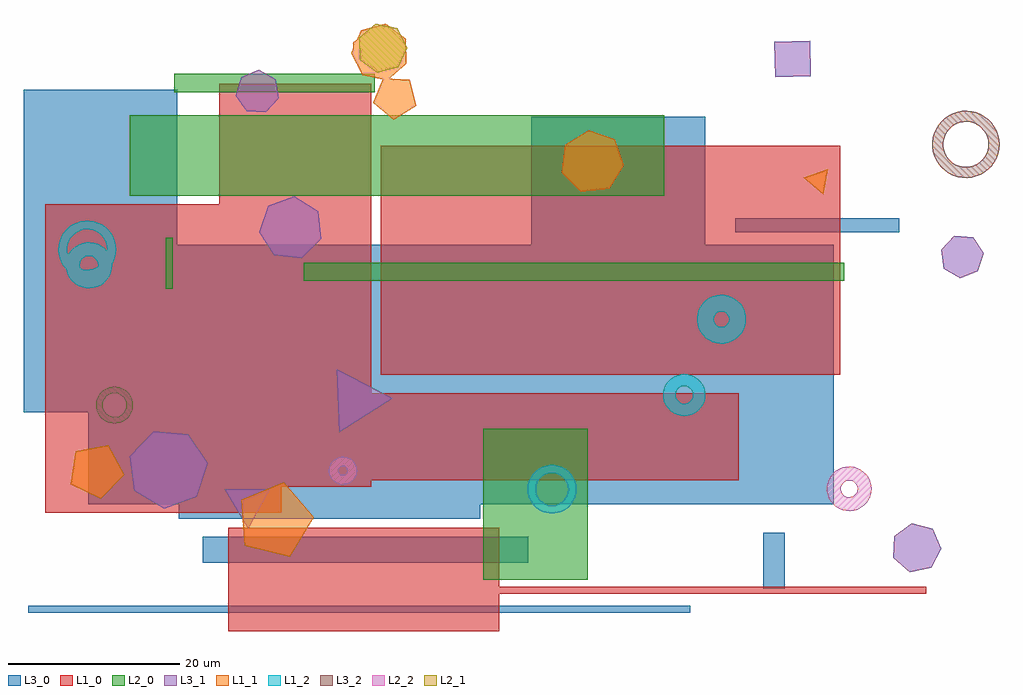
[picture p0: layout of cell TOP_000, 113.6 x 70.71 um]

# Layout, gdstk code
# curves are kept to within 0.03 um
import gdstk
lib = gdstk.Library(unit=1e-6, precision=1e-09)
def R(c, l, rs):  # rectangles x0, y0, x1, y1
    for r in rs: c.add(gdstk.rectangle(r[:2], r[2:], *l))
def P(c, l, *ps):  # polygons
    for p in ps: c.add(gdstk.Polygon(p, *l))
L1_0 = (1, 0)
L1_1 = (1, 1)
L1_2 = (1, 2)
L2_0 = (2, 0)
L2_1 = (2, 1)
L2_2 = (2, 2)
L3_0 = (3, 0)
L3_1 = (3, 1)
L3_2 = (3, 2)

top_000 = lib.new_cell('TOP_000')
R(top_000, L1_0, [(29.05,6.858,60.589,18.919), (42.025,11.231,110.293,12.031), (7.751,20.625,35.253,56.553), (28.046,23.688,45.72,70.566), (22.563,24.451,88.469,34.583), (46.814,36.739,100.313,63.388)])
P(top_000, L1_1, [(74.042,64.126),(70.998,65.195),(68.263,63.481),(67.898,60.275),(70.178,57.99),(73.385,58.348),(75.105,61.079)],
  [(10.737,23.974),(14.235,22.257),(16.949,25.052),(15.129,28.498),(11.29,27.831)],
  [(47.378,77.566),(44.558,76.822),(43.382,74.154),(44.734,71.571),(47.597,71.018),(49.814,72.911),(49.717,75.825)],
  [(98.296,57.705),(98.821,60.631),(96.025,59.623)],
  [(35.515,24.215),(30.552,22.154),(30.978,16.797),(36.204,15.547),(39.009,20.131)],
  [(50.204,71.045),(47.113,71.247),(45.965,68.369),(48.348,66.389),(50.968,68.042)],
  [(45.958,75.544),(44.755,76.165),(43.617,75.433),(43.681,74.081),(44.884,73.461),(46.022,74.193)])
P(top_000, L1_2, [(86.817,40.343),(87.267,40.435),(87.697,40.598),(88.094,40.827),(88.45,41.118),(88.755,41.462),(89,41.85),(89.18,42.272),(89.29,42.718),(89.327,43.176),(89.29,43.633),(89.18,44.079),(89,44.502),(88.755,44.89),(88.45,45.234),(88.094,45.524),(87.697,45.754),(87.267,45.916),(86.817,46.008),(86.359,46.027),(85.903,45.971),(85.462,45.844),(85.047,45.647),(84.669,45.386),(84.338,45.068),(84.062,44.701),(83.848,44.294),(83.703,43.859),(83.629,43.176),(85.581,43.176),(85.617,43.427),(85.723,43.658),(85.889,43.85),(86.103,43.987),(86.346,44.059),(86.6,44.059),(86.844,43.987),(87.058,43.85),(87.224,43.658),(87.33,43.427),(87.366,43.176),(87.33,42.924),(87.224,42.693),(87.058,42.501),(86.844,42.364),(86.6,42.292),(86.346,42.292),(86.103,42.364),(85.889,42.501),(85.723,42.693),(85.617,42.924),(85.581,43.176),(83.629,43.176),(83.629,42.946),(83.703,42.493),(83.848,42.057),(84.062,41.651),(84.338,41.284),(84.669,40.965),(85.047,40.705),(85.462,40.508),(85.903,40.38),(86.359,40.325)],
  [(82.573,31.946),(82.986,32.057),(83.375,32.238),(83.726,32.484),(84.029,32.787),(84.274,33.137),(84.455,33.526),(84.566,33.94),(84.604,34.366),(84.566,34.793),(84.455,35.207),(84.274,35.595),(84.029,35.946),(83.726,36.249),(83.375,36.495),(82.986,36.676),(82.573,36.787),(82.146,36.824),(81.719,36.787),(81.305,36.676),(80.917,36.495),(80.566,36.249),(80.263,35.946),(80.017,35.595),(79.836,35.207),(79.725,34.793),(79.7,34.229),(81.144,34.229),(81.144,34.504),(81.219,34.769),(81.362,35.004),(81.563,35.192),(81.807,35.319),(82.077,35.375),(82.351,35.356),(82.611,35.264),(82.836,35.105),(83.009,34.892),(83.119,34.639),(83.157,34.366),(83.119,34.094),(83.009,33.841),(82.836,33.628),(82.611,33.469),(82.351,33.377),(82.077,33.358),(81.807,33.414),(81.563,33.541),(81.362,33.728),(81.219,33.964),(81.144,34.229),(79.7,34.229),(79.725,33.94),(79.836,33.526),(80.017,33.137),(80.263,32.787),(80.566,32.484),(80.917,32.238),(81.305,32.057),(81.719,31.946),(82.146,31.909)],
  [(13.4,48.008),(13.88,48.156),(14.333,48.375),(14.749,48.658),(15.117,49),(15.431,49.393),(15.682,49.829),(15.866,50.297),(15.978,50.787),(16.016,51.288),(15.978,51.79),(15.866,52.28),(15.682,52.748),(15.431,53.184),(15.117,53.577),(14.749,53.919),(14.333,54.202),(13.88,54.42),(13.4,54.569),(12.903,54.644),(12.4,54.644),(11.902,54.569),(11.422,54.42),(10.969,54.202),(10.553,53.919),(10.185,53.577),(9.871,53.184),(9.62,52.748),(9.436,52.28),(9.324,51.79),(9.302,51.079),(10.325,51.079),(10.325,51.498),(10.4,51.91),(10.547,52.302),(10.762,52.661),(11.037,52.976),(11.365,53.237),(11.733,53.436),(12.131,53.565),(12.546,53.621),(12.965,53.603),(13.373,53.509),(13.758,53.345),(14.107,53.114),(14.41,52.825),(14.656,52.486),(14.837,52.109),(14.949,51.705),(14.986,51.288),(14.949,50.871),(14.837,50.468),(14.656,50.091),(14.41,49.752),(14.107,49.463),(13.758,49.232),(13.373,49.067),(12.965,48.974),(12.546,48.955),(12.131,49.012),(11.733,49.141),(11.365,49.339),(11.037,49.6),(10.762,49.916),(10.547,50.275),(10.4,50.667),(10.325,51.079),(9.302,51.079),(9.324,50.787),(9.436,50.297),(9.62,49.829),(9.871,49.393),(10.185,49),(10.553,48.658),(10.969,48.375),(11.422,48.156),(11.902,48.008),(12.4,47.933),(12.903,47.933)],
  [(13.422,46.813),(13.859,46.947),(14.268,47.153),(14.635,47.425),(14.952,47.755),(15.208,48.134),(15.396,48.55),(15.511,48.993),(15.55,49.448),(15.511,49.904),(15.396,50.346),(15.208,50.763),(14.952,51.142),(14.635,51.472),(14.268,51.744),(13.859,51.95),(13.422,52.084),(12.969,52.142),(12.512,52.122),(12.065,52.026),(11.641,51.855),(11.251,51.616),(10.908,51.314),(10.621,50.958),(10.398,50.559),(10.246,50.128),(10.168,49.448),(11.782,49.448),(11.818,49.726),(11.925,49.985),(12.096,50.207),(12.318,50.377),(12.577,50.485),(12.854,50.521),(13.132,50.485),(13.391,50.377),(13.613,50.207),(13.783,49.985),(13.89,49.726),(13.927,49.448),(13.89,49.171),(13.783,48.912),(13.613,48.69),(13.391,48.52),(13.132,48.412),(12.854,48.376),(12.577,48.412),(12.318,48.52),(12.096,48.69),(11.925,48.912),(11.818,49.171),(11.782,49.448),(10.168,49.448),(10.246,48.769),(10.398,48.338),(10.621,47.939),(10.908,47.583),(11.251,47.281),(11.641,47.042),(12.065,46.871),(12.512,46.775),(12.969,46.755)],
  [(67.447,20.642),(67.89,20.794),(68.302,21.017),(68.672,21.305),(68.989,21.649),(69.245,22.042),(69.434,22.471),(69.549,22.925),(69.587,23.392),(69.549,23.859),(69.434,24.313),(69.245,24.742),(68.989,25.134),(68.672,25.479),(68.302,25.767),(67.89,25.99),(67.447,26.142),(66.985,26.219),(66.516,26.219),(66.054,26.142),(65.611,25.99),(65.199,25.767),(64.829,25.479),(64.512,25.134),(64.256,24.742),(64.067,24.313),(63.952,23.859),(63.929,23.203),(64.89,23.203),(64.89,23.581),(64.966,23.952),(65.116,24.299),(65.332,24.61),(65.606,24.871),(65.927,25.071),(66.282,25.202),(66.656,25.259),(67.034,25.24),(67.4,25.145),(67.74,24.979),(68.039,24.747),(68.285,24.46),(68.469,24.129),(68.582,23.768),(68.62,23.392),(68.582,23.016),(68.469,22.655),(68.285,22.324),(68.039,22.037),(67.74,21.805),(67.4,21.638),(67.034,21.544),(66.656,21.524),(66.282,21.582),(65.927,21.713),(65.606,21.913),(65.332,22.174),(65.116,22.484),(64.966,22.832),(64.89,23.203),(63.929,23.203),(63.952,22.925),(64.067,22.471),(64.256,22.042),(64.512,21.649),(64.829,21.305),(65.199,21.017),(65.611,20.794),(66.054,20.642),(66.516,20.565),(66.985,20.565)])
R(top_000, L2_0, [(58.747,12.831,70.884,30.409), (21.805,46.749,22.605,52.634), (37.829,47.628,100.757,49.726), (17.601,57.561,79.831,66.935), (22.77,69.57,46.131,71.745)])
P(top_000, L2_1, [(48.848,72.49),(49.894,74.795),(48.744,77.05),(46.264,77.556),(44.322,75.934),(44.38,73.403),(46.394,71.871)])
P(top_000, L2_2, [(42.859,23.962),(43.189,24.094),(43.483,24.293),(43.727,24.551),(43.91,24.855),(44.024,25.192),(44.062,25.545),(44.024,25.898),(43.91,26.235),(43.727,26.539),(43.483,26.797),(43.189,26.996),(42.859,27.128),(42.508,27.185),(42.154,27.166),(41.811,27.071),(41.497,26.905),(41.227,26.675),(41.012,26.392),(40.862,26.07),(40.786,25.723),(40.786,25.453),(41.928,25.453),(41.928,25.637),(41.994,25.808),(42.118,25.944),(42.282,26.026),(42.465,26.043),(42.642,25.993),(42.789,25.882),(42.886,25.726),(42.919,25.545),(42.886,25.364),(42.789,25.208),(42.642,25.097),(42.465,25.047),(42.282,25.064),(42.118,25.146),(41.994,25.282),(41.928,25.453),(40.786,25.453),(40.862,25.02),(41.012,24.698),(41.227,24.415),(41.497,24.185),(41.811,24.019),(42.154,23.924),(42.508,23.905)],
  [(101.892,20.894),(102.314,21.023),(102.708,21.222),(103.063,21.484),(103.368,21.803),(103.615,22.168),(103.797,22.571),(103.908,22.998),(103.945,23.437),(103.908,23.877),(103.797,24.304),(103.615,24.706),(103.368,25.072),(103.063,25.39),(102.708,25.653),(102.314,25.851),(101.892,25.98),(101.454,26.037),(101.013,26.018),(100.582,25.925),(100.173,25.76),(99.797,25.529),(99.466,25.237),(99.188,24.894),(98.973,24.509),(98.826,24.093),(98.752,23.658),(98.752,23.306),(100.386,23.306),(100.386,23.569),(100.457,23.822),(100.594,24.047),(100.787,24.227),(101.02,24.348),(101.278,24.401),(101.54,24.383),(101.788,24.295),(102.003,24.144),(102.17,23.939),(102.274,23.698),(102.31,23.437),(102.274,23.176),(102.17,22.935),(102.003,22.731),(101.788,22.579),(101.54,22.491),(101.278,22.473),(101.02,22.527),(100.787,22.648),(100.594,22.827),(100.457,23.052),(100.386,23.306),(98.752,23.306),(98.826,22.782),(98.973,22.366),(99.188,21.98),(99.466,21.637),(99.797,21.346),(100.173,21.114),(100.582,20.95),(101.013,20.857),(101.454,20.838)])
R(top_000, L3_0, [(5.791,9.02,82.863,9.82), (91.308,11.785,93.825,18.329), (26.075,14.813,63.991,17.844), (23.294,19.962,58.421,33.073), (29.717,21.108,42.189,46.182), (12.794,21.66,99.56,51.828), (5.237,32.33,23.11,69.856), (11.288,40.2,87.277,45.892), (64.316,45.335,84.569,66.767), (88.079,53.291,107.18,54.906)])
P(top_000, L3_1, [(33.975,23.434),(28.659,23.357),(31.384,18.792)],
  [(96.79,75.575),(92.646,75.487),(92.735,71.343),(96.879,71.431)],
  [(106.576,17.911),(106.489,15.386),(108.409,13.745),(110.889,14.223),(112.062,16.46),(111.045,18.771),(108.603,19.417)],
  [(112.032,51.257),(112.349,49.066),(114.261,47.947),(116.328,48.745),(116.992,50.858),(115.755,52.695),(113.547,52.873)],
  [(42.002,30.006),(48.224,33.956),(41.692,37.37)],
  [(34.58,71.113),(32.628,72.197),(30.564,71.346),(29.942,69.203),(31.23,67.379),(33.459,67.25),(34.949,68.912)],
  [(34.42,50.596),(37.632,50.257),(39.899,52.558),(39.514,55.764),(36.767,57.463),(33.726,56.374),(32.682,53.318)],
  [(21.609,21.113),(25.407,22.539),(26.66,26.398),(24.425,29.783),(20.384,30.146),(17.581,27.214),(18.127,23.194)])
P(top_000, L3_2, [(16.414,31.116),(16.784,31.259),(17.122,31.468),(17.415,31.735),(17.654,32.052),(17.831,32.407),(17.939,32.788),(17.976,33.183),(17.939,33.579),(17.831,33.96),(17.654,34.315),(17.415,34.632),(17.122,34.899),(16.784,35.108),(16.414,35.251),(16.024,35.324),(15.628,35.324),(15.238,35.251),(14.868,35.108),(14.53,34.899),(14.237,34.632),(13.998,34.315),(13.821,33.96),(13.713,33.579),(13.691,33.023),(14.449,33.023),(14.449,33.344),(14.523,33.658),(14.668,33.945),(14.875,34.192),(15.133,34.384),(15.428,34.511),(15.745,34.567),(16.067,34.549),(16.375,34.456),(16.654,34.295),(16.888,34.074),(17.065,33.806),(17.175,33.503),(17.212,33.183),(17.175,32.864),(17.065,32.561),(16.888,32.293),(16.654,32.072),(16.375,31.911),(16.067,31.818),(15.745,31.8),(15.428,31.856),(15.133,31.983),(14.875,32.175),(14.668,32.422),(14.523,32.709),(14.449,33.023),(13.691,33.023),(13.821,32.407),(13.998,32.052),(14.237,31.735),(14.53,31.468),(14.868,31.259),(15.238,31.116),(15.628,31.043),(16.024,31.043)],
  [(115.601,59.668),(116.13,59.8),(116.637,60.005),(117.109,60.278),(117.54,60.614),(117.919,61.007),(118.24,61.448),(118.496,61.93),(118.683,62.443),(118.796,62.977),(118.834,63.522),(118.796,64.067),(118.683,64.601),(118.496,65.114),(118.24,65.596),(117.919,66.037),(117.54,66.43),(117.109,66.766),(116.637,67.039),(116.13,67.244),(115.601,67.376),(115.058,67.433),(114.512,67.414),(113.974,67.319),(113.455,67.15),(112.964,66.911),(112.512,66.606),(112.106,66.24),(111.755,65.822),(111.466,65.359),(111.244,64.86),(111.093,64.336),(111.017,63.795),(111.017,63.299),(112.307,63.299),(112.307,63.744),(112.382,64.183),(112.53,64.603),(112.747,64.991),(113.027,65.338),(113.361,65.632),(113.74,65.865),(114.153,66.031),(114.588,66.125),(115.032,66.144),(115.474,66.087),(115.899,65.957),(116.297,65.756),(116.655,65.492),(116.963,65.17),(117.212,64.802),(117.395,64.396),(117.507,63.965),(117.545,63.522),(117.507,63.078),(117.395,62.648),(117.212,62.242),(116.963,61.873),(116.655,61.552),(116.297,61.288),(115.899,61.087),(115.474,60.957),(115.032,60.9),(114.588,60.919),(114.153,61.013),(113.74,61.179),(113.361,61.412),(113.027,61.706),(112.747,62.053),(112.53,62.441),(112.382,62.861),(112.307,63.299),(111.017,63.299),(111.093,62.708),(111.244,62.184),(111.466,61.685),(111.755,61.222),(112.106,60.804),(112.512,60.438),(112.964,60.133),(113.455,59.894),(113.974,59.725),(114.512,59.63),(115.058,59.611)])

lib.write_gds('TOP_000.gds')
